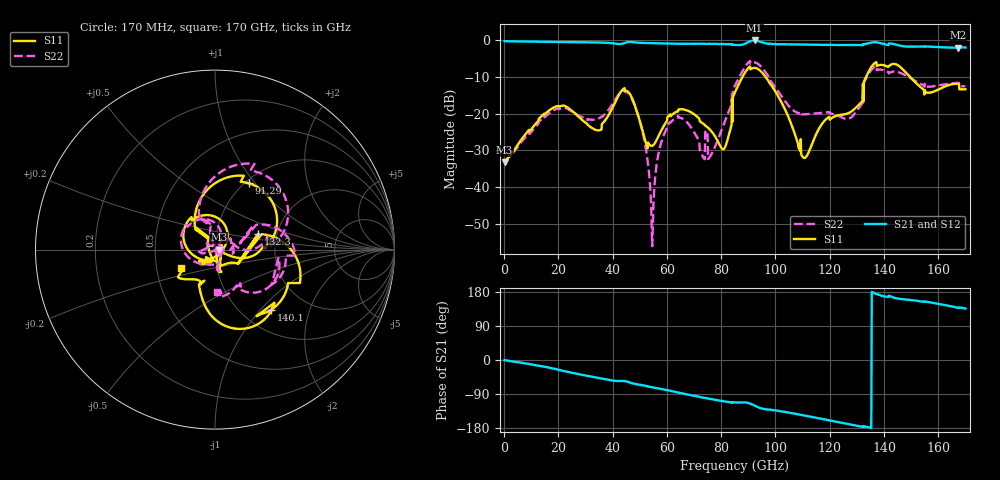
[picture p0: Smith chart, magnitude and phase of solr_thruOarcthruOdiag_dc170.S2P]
# GHz S RI R 50
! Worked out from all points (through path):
!   1000 points, 170 MHz to 170 GHz, reference 50 ohm
!   highest |S21| = 0.01 dB at 92.31 GHz (marker M1); lowest = -2.0 dB at 167.3 GHz (marker M2)
!   group delay of S21, straight-line fit = 3.72 ps
!   lowest |S11| = -33.2 dB at 170 MHz (marker M3), VSWR 1.04, Z = 52.2 + j0.0295 ohm
!   |S11| at or under -10 dB: start of sweep to 87.78 GHz; 96.43 GHz to 133.3 GHz (36.91 GHz wide, 32.1 % of centre); 149.6 GHz to end of sweep
!   |S22| runs from -56.1 to -5.6 dB; largest |S21 - S12| = 0.082
!   S11 on the Smith chart (normalised r, x): 170 MHz: 1.04, +0.00; 91.29 GHz: 1.04, +0.93; 132.3 GHz: 1.60, +0.30; 140.1 GHz: 1.35, -1.15; 170 GHz: 0.67, -0.14
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0.17  0.0218 0.000283  0.9783 -0.00464  0.9783 -0.00449  0.0218 0.000297
18.02  0.0249 -0.1179  0.8842 -0.3643  0.8584 -0.4214  0.00954 -0.1101
28.56  0.0202 -0.081  0.7366 -0.5955  0.7368 -0.5953  0.0146 -0.0894
35.02  -0.021 -0.0556  0.6312 -0.6938  0.6337 -0.6915  -0.0223 -0.0842
46.07  -0.0256 0.1908  0.4964 -0.8182  0.4622 -0.838  -0.0721 0.1701
51.51  0.0493 0.00984  0.3575 -0.853  0.3242 -0.8662  0.027 0.0382
54.57  0.0162 -0.0327  0.2844 -0.874  0.275 -0.877  0.000974 -0.00123
56.78  -0.0126 -0.0469  0.2385 -0.8848  0.2276 -0.8877  -0.0242 -0.013
66.13  -0.0811 -0.0809  0.0162 -0.9002  0.0294 -0.8999  -0.0835 -0.00935
73.1  -0.0244 -0.0704  -0.1419 -0.8914  -0.0933 -0.8978  -0.0214 0.0159
80.92  -0.0324 -0.00612  -0.2897 -0.8459  -0.2497 -0.8586  -0.0227 0.0686
85.17  -0.1133 0.1646  -0.3249 -0.805  -0.3201 -0.807  -0.0892 0.229
91.29  0.1879 0.3695  -0.4464 -0.8845  -0.4766 -0.8686  0.2466 0.428
92.31  0.2693 0.3258  -0.5056 -0.8636  -0.5379 -0.8438  0.3351 0.3731
110.33  0.0165 -0.0191  -0.7261 -0.4917  -0.7246 -0.494  0.0893 0.0412
113.39  0.00925 -0.0369  -0.7576 -0.4342  -0.7537 -0.4407  0.0947 0.0326
127.16  0.0682 -0.0773  -0.8541 -0.1582  -0.85 -0.1791  0.0862 -0.00209
132.26  0.241 0.0864  -0.8827 -0.0813  -0.8829 -0.0798  0.2138 0.1341
140.08  0.3123 -0.3354  -0.8718 0.1871  -0.8714 0.189  0.3584 -0.158
141.78  0.332 -0.2953  -0.8956 0.1632  -0.8943 0.1702  0.3532 -0.045
167.28  -0.2059 -0.1534  -0.5903 0.5349  -0.5962 0.5283  0.0326 -0.2619
170  -0.1895 -0.103  -0.5733 0.5613  -0.5743 0.5602  0.0123 -0.2365
